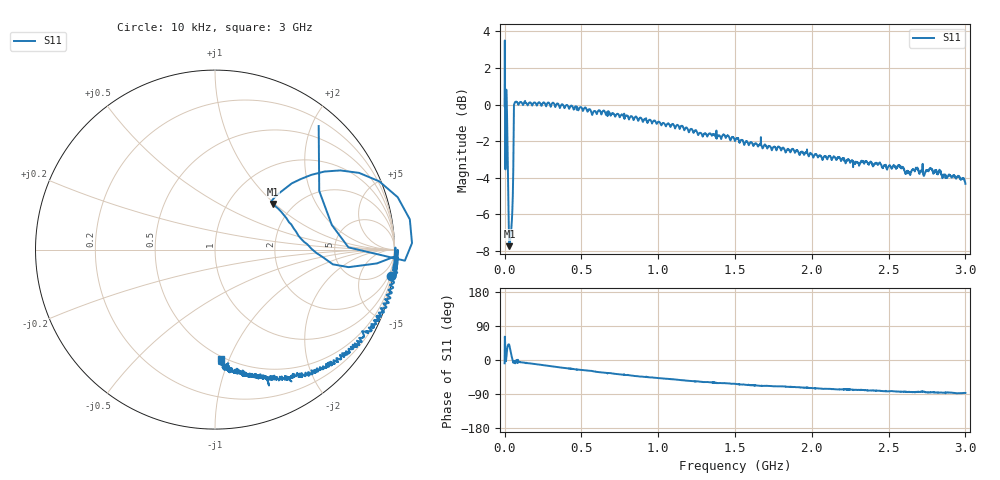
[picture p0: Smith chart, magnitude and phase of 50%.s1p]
# HZ S RI R 50
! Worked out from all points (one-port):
!   2020 points, 10 kHz to 3 GHz, reference 50 ohm
!   lowest |S11| = -7.7 dB at 31.21 MHz (marker M1), VSWR 2.39, Z = 79.2 + j48.5 ohm
!   |S11| at or under -10 dB: nowhere
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10000  0.9791 -0.1495
5953516  0.6507 0.1376
1.635467e7  0.8029 0.4274
1.932643e7  0.6092 0.4348
2.378406e7  0.428 0.3692
2.675582e7  0.3585 0.3152
3.121346e7  0.3216 0.2548
3.715698e7  0.3839 0.192
4.310049e7  0.4384 0.1185
5.350164e7  0.5661 -0.0195
6.39028e7  1.004 -0.0654
7.133219e7  1.016 -0.0428
7.578983e7  1.017 -0.00983
3.759374e8  0.9391 -0.3499
6.092204e8  0.8157 -0.5092
7.503789e8  0.7295 -0.5667
8.751927e8  0.6638 -0.6262
1.126306e9  0.5422 -0.6932
1.286781e9  0.4419 -0.6946
1.500748e9  0.3613 -0.7084
1.667166e9  0.292 -0.7215
1.875189e9  0.2458 -0.7163
2.068354e9  0.1725 -0.6877
2.251117e9  0.1488 -0.6822
2.575038e9  0.0722 -0.6718
2.625558e9  0.0675 -0.6551
2.769688e9  0.0555 -0.6673
3e9  0.0316 -0.6068
